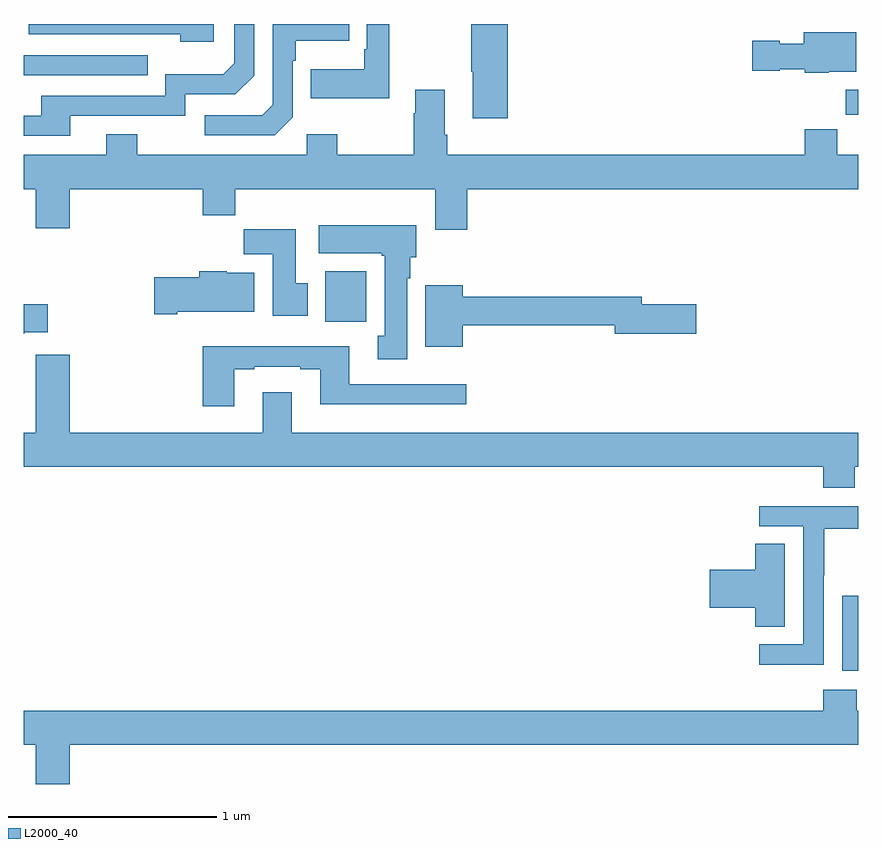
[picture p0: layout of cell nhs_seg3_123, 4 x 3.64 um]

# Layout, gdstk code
import gdstk
lib = gdstk.Library(unit=1e-6, precision=1e-09)
def R(c, l, rs):  # rectangles x0, y0, x1, y1
    for r in rs: c.add(gdstk.rectangle(r[:2], r[2:], *l))
def P(c, l, *ps):  # polygons
    for p in ps: c.add(gdstk.Polygon(p, *l))
L2000_40 = (2000, 40)

nhs_seg3_123 = lib.new_cell('nhs_seg3_123')
R(nhs_seg3_123, L2000_40, [(120.923,673.298,121,673.659), (118.445,674.972,118.642,675.214), (120.94,675.966,121,676.084), (117,676.155,117.593,676.251)])
P(nhs_seg3_123, L2000_40, [(117.223,675.96),(117.774,675.96),(117.774,676.062),(118.014,676.062),(118.104,676.152),(118.104,676.4),(118.008,676.4),(118.008,676.212),(117.955,676.159),(117.678,676.159),(117.678,676.056),(117.083,676.056),(117.083,675.96),(117,675.96),(117,675.864),(117.223,675.864)],
  [(118.753,676.4),(118.644,676.4),(118.644,676.279),(118.632,676.279),(118.632,676.183),(118.375,676.183),(118.375,676.043),(118.753,676.043)],
  [(119.321,676.4),(119.146,676.4),(119.146,676.171),(119.153,676.171),(119.153,675.948),(119.321,675.948)],
  [(117.91,676.4),(117.024,676.4),(117.024,676.35),(117.749,676.35),(117.749,676.316),(117.91,676.316)],
  [(118.29,675.954),(118.29,676.223),(118.303,676.223),(118.303,676.319),(118.559,676.319),(118.559,676.4),(118.194,676.4),(118.194,676.014),(118.143,675.963),(117.867,675.963),(117.867,675.867),(118.203,675.867)],
  [(120.858,676.172),(120.991,676.172),(120.991,676.36),(120.74,676.36),(120.74,676.306),(120.624,676.306),(120.624,676.319),(120.492,676.319),(120.492,676.177),(120.624,676.177),(120.624,676.184),(120.744,676.184),(120.744,676.166),(120.858,676.166)],
  [(119.126,675.608),(121,675.608),(121,675.772),(120.899,675.772),(120.899,675.896),(120.743,675.896),(120.743,675.772),(119.03,675.772),(119.03,675.868),(119.017,675.868),(119.017,676.084),(118.877,676.084),(118.877,675.971),(118.87,675.971),(118.87,675.772),(118.503,675.772),(118.503,675.871),(118.356,675.871),(118.356,675.772),(117.543,675.772),(117.543,675.871),(117.395,675.871),(117.395,675.772),(117,675.772),(117,675.608),(117.056,675.608),(117.056,675.42),(117.22,675.42),(117.22,675.608),(117.857,675.608),(117.857,675.484),(118.013,675.484),(118.013,675.608),(118.973,675.608),(118.973,675.414),(119.126,675.414)],
  [(118.837,675.182),(118.852,675.182),(118.852,675.282),(118.882,675.282),(118.882,675.436),(118.413,675.436),(118.413,675.302),(118.717,675.302),(118.717,675.289),(118.73,675.289),(118.73,674.906),(118.697,674.906),(118.697,674.793),(118.837,674.793)],
  [(118.36,675.156),(118.303,675.156),(118.303,675.415),(118.054,675.415),(118.054,675.296),(118.193,675.296),(118.193,675),(118.36,675)],
  [(117.736,675.02),(118.105,675.02),(118.105,675.208),(117.972,675.208),(117.972,675.214),(117.842,675.214),(117.842,675.186),(117.624,675.186),(117.624,675.008),(117.736,675.008)],
  [(119.104,674.956),(119.834,674.956),(119.834,674.914),(120.223,674.914),(120.223,675.056),(119.962,675.056),(119.962,675.092),(119.104,675.092),(119.104,675.148),(118.925,675.148),(118.925,674.852),(119.104,674.852)],
  [(117.002,674.921),(117.115,674.921),(117.115,675.056),(117,675.056),(117,674.914),(117.002,674.914)],
  [(118.009,674.745),(118.105,674.745),(118.105,674.757),(118.325,674.757),(118.325,674.745),(118.421,674.745),(118.421,674.576),(119.122,674.576),(119.122,674.673),(118.561,674.673),(118.561,674.854),(117.857,674.854),(117.857,674.568),(118.009,674.568)],
  [(120.985,674.276),(121,674.276),(121,674.44),(118.285,674.44),(118.285,674.635),(118.145,674.635),(118.145,674.44),(117.22,674.44),(117.22,674.815),(117.056,674.815),(117.056,674.44),(117,674.44),(117,674.276),(120.833,674.276),(120.833,674.177),(120.985,674.177)],
  [(120.834,673.756),(120.837,673.756),(120.837,673.98),(121,673.98),(121,674.088),(120.525,674.088),(120.525,673.992),(120.738,673.992),(120.738,673.425),(120.525,673.425),(120.525,673.327),(120.834,673.327)],
  [(120.649,673.907),(120.506,673.907),(120.506,673.784),(120.288,673.784),(120.288,673.601),(120.506,673.601),(120.506,673.51),(120.649,673.51)],
  [(117.22,672.944),(121,672.944),(121,673.108),(120.993,673.108),(120.993,673.207),(120.833,673.207),(120.833,673.108),(117,673.108),(117,672.944),(117.056,672.944),(117.056,672.756),(117.22,672.756)])

lib.write_gds('nhs_seg3_123.gds')
